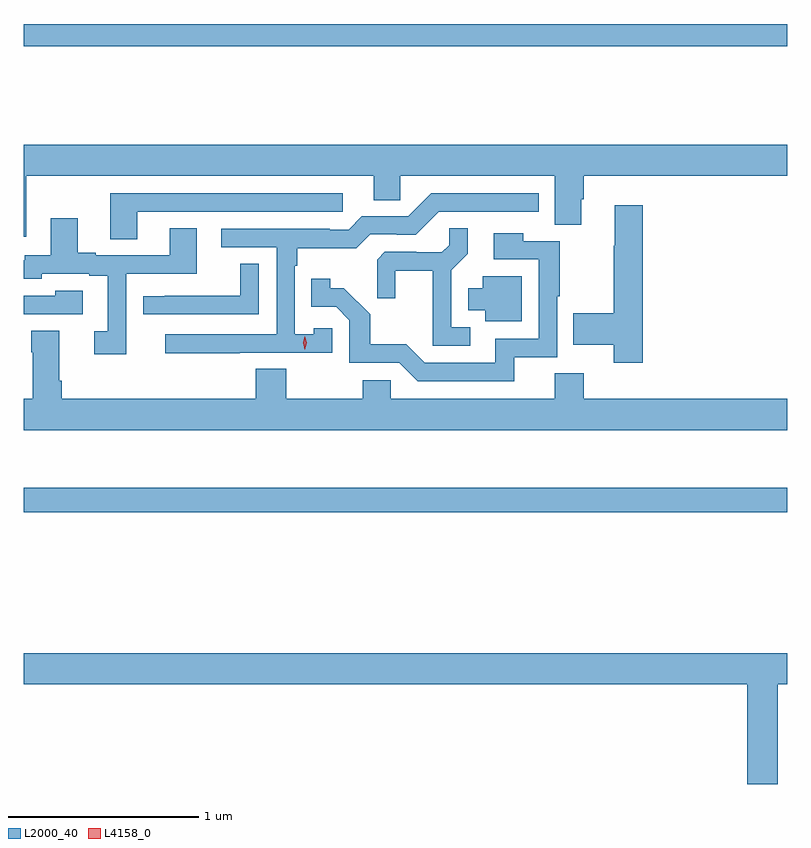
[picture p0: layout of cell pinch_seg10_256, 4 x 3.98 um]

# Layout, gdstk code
import gdstk
lib = gdstk.Library(unit=1e-6, precision=1e-09)
def R(c, l, rs):  # rectangles x0, y0, x1, y1
    for r in rs: c.add(gdstk.rectangle(r[:2], r[2:], *l))
def P(c, l, *ps):  # polygons
    for p in ps: c.add(gdstk.Polygon(p, *l))
L2000_40 = (2000, 40)
L4158_0 = (4158, 0)

pinch_seg10_256 = lib.new_cell('pinch_seg10_256')
R(pinch_seg10_256, L2000_40, [(525.889,1322.53,529.889,1322.659), (525.889,1324.972,529.889,1325.088)])
P(pinch_seg10_256, L2000_40, [(525.901,1324.292),(527.723,1324.292),(527.723,1324.165),(527.862,1324.165),(527.862,1324.292),(528.671,1324.292),(528.671,1324.036),(528.811,1324.036),(528.811,1324.17),(528.824,1324.17),(528.824,1324.292),(529.889,1324.292),(529.889,1324.456),(525.889,1324.456),(525.889,1323.972),(525.901,1323.972)],
  [(526.483,1324.104),(527.56,1324.104),(527.56,1324.2),(526.343,1324.2),(526.343,1323.961),(526.483,1323.961)],
  [(527.021,1323.366),(527.505,1323.366),(527.505,1323.495),(527.409,1323.495),(527.409,1323.463),(527.31,1323.463),(527.31,1323.821),(527.323,1323.821),(527.323,1323.914),(527.63,1323.914),(527.703,1323.987),(527.842,1323.987),(527.842,1323.984),(527.943,1323.984),(528.063,1324.104),(528.586,1324.104),(528.586,1324.2),(528.024,1324.2),(527.904,1324.08),(527.661,1324.08),(527.592,1324.011),(527.492,1324.011),(527.492,1324.014),(526.923,1324.014),(526.923,1323.918),(527.214,1323.918),(527.214,1323.462),(526.629,1323.462),(526.629,1323.364),(527.021,1323.364)],
  [(529.133,1324.138),(528.986,1324.138),(528.986,1323.925),(528.979,1323.925),(528.979,1323.573),(528.769,1323.573),(528.769,1323.407),(528.979,1323.407),(528.979,1323.312),(529.133,1323.312)],
  [(526.425,1323.78),(526.795,1323.78),(526.795,1324.019),(526.655,1324.019),(526.655,1323.876),(526.267,1323.876),(526.267,1323.889),(526.171,1323.889),(526.171,1324.069),(526.031,1324.069),(526.031,1323.876),(525.894,1323.876),(525.894,1323.849),(525.889,1323.849),(525.889,1323.753),(525.984,1323.753),(525.984,1323.78),(526.232,1323.78),(526.232,1323.768),(526.328,1323.768),(526.328,1323.477),(526.257,1323.477),(526.257,1323.357),(526.425,1323.357)],
  [(528.229,1323.498),(528.129,1323.498),(528.129,1323.797),(528.215,1323.883),(528.215,1324.019),(528.117,1324.019),(528.117,1323.928),(528.08,1323.891),(527.946,1323.891),(527.946,1323.894),(527.781,1323.894),(527.74,1323.853),(527.74,1323.651),(527.834,1323.651),(527.834,1323.794),(528.032,1323.794),(528.032,1323.402),(528.229,1323.402)],
  [(528.458,1323.342),(528.684,1323.342),(528.684,1323.661),(528.697,1323.661),(528.697,1323.951),(528.507,1323.951),(528.507,1323.991),(528.351,1323.991),(528.351,1323.855),(528.588,1323.855),(528.588,1323.438),(528.359,1323.438),(528.359,1323.312),(527.991,1323.312),(527.893,1323.411),(527.704,1323.411),(527.704,1323.566),(527.566,1323.704),(527.496,1323.704),(527.496,1323.754),(527.395,1323.754),(527.395,1323.606),(527.526,1323.606),(527.595,1323.537),(527.595,1323.312),(527.856,1323.312),(527.952,1323.216),(528.458,1323.216)],
  [(527.121,1323.833),(527.023,1323.833),(527.023,1323.663),(526.627,1323.663),(526.627,1323.662),(526.515,1323.662),(526.515,1323.567),(527.121,1323.567)],
  [(528.499,1323.766),(528.293,1323.766),(528.293,1323.703),(528.218,1323.703),(528.218,1323.587),(528.308,1323.587),(528.308,1323.53),(528.499,1323.53)],
  [(526.198,1323.691),(526.053,1323.691),(526.053,1323.663),(525.889,1323.663),(525.889,1323.567),(526.198,1323.567)],
  [(528.671,1323.257),(528.671,1323.124),(527.811,1323.124),(527.811,1323.222),(527.665,1323.222),(527.665,1323.124),(527.265,1323.124),(527.265,1323.281),(527.105,1323.281),(527.105,1323.124),(526.088,1323.124),(526.088,1323.22),(526.075,1323.22),(526.075,1323.481),(525.928,1323.481),(525.928,1323.368),(525.935,1323.368),(525.935,1323.124),(525.889,1323.124),(525.889,1322.96),(529.889,1322.96),(529.889,1323.124),(528.824,1323.124),(528.824,1323.257)],
  [(529.839,1321.628),(529.889,1321.628),(529.889,1321.792),(525.889,1321.792),(525.889,1321.628),(529.679,1321.628),(529.679,1321.106),(529.839,1321.106)])
P(pinch_seg10_256, L4158_0, [(527.362,1323.381),(527.362,1323.381),(527.352,1323.417),(527.362,1323.453),(527.362,1323.453),(527.362,1323.453),(527.372,1323.417),(527.362,1323.381)])

lib.write_gds('pinch_seg10_256.gds')
